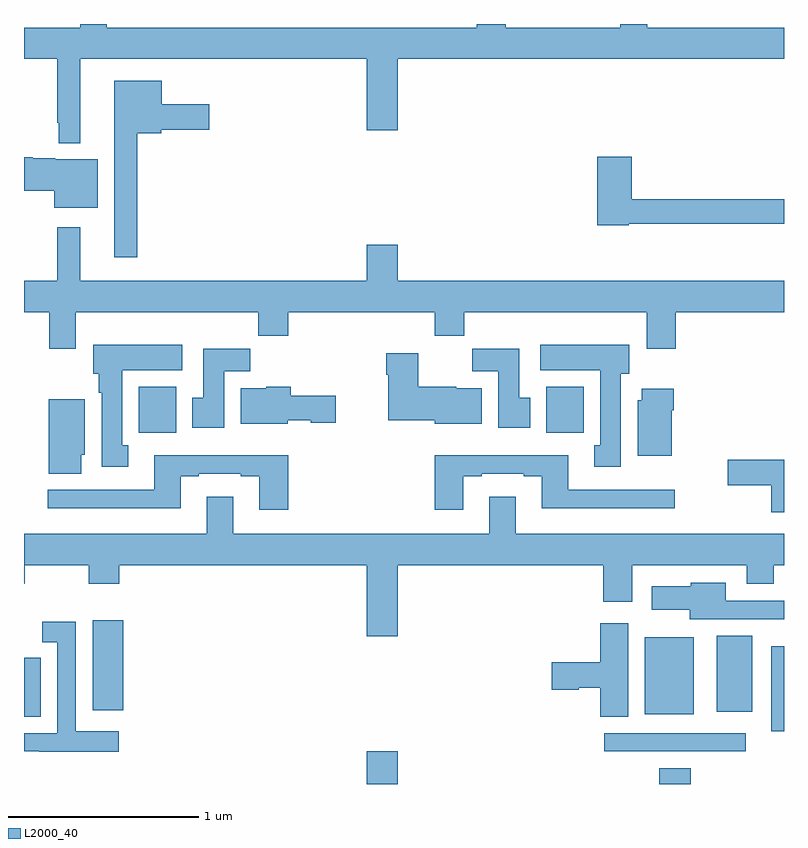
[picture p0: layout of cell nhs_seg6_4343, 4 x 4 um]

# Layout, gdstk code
import gdstk
lib = gdstk.Library(unit=1e-6, precision=1e-09)
def R(c, l, rs):  # rectangles x0, y0, x1, y1
    for r in rs: c.add(gdstk.rectangle(r[:2], r[2:], *l))
def P(c, l, *ps):  # polygons
    for p in ps: c.add(gdstk.Polygon(p, *l))
L2000_40 = (2000, 40)

nhs_seg6_4343 = lib.new_cell('nhs_seg6_4343')
R(nhs_seg6_4343, L2000_40, [(368.804,963.5,368.968,963.673), (370.343,963.5,370.508,963.583), (370.053,963.672,370.798,963.768), (370.934,963.777,371,964.225), (367,963.853,367.087,964.164), (370.268,963.866,370.525,964.273), (370.646,963.881,370.834,964.279), (367.361,963.888,367.522,964.363), (367.604,965.348,367.801,965.59), (369.749,965.348,369.946,965.59)])
P(nhs_seg6_4343, L2000_40, [(367.297,967.316),(368.804,967.316),(368.804,966.942),(368.968,966.942),(368.968,967.316),(371,967.316),(371,967.48),(370.279,967.48),(370.279,967.5),(370.139,967.5),(370.139,967.48),(369.535,967.48),(369.535,967.5),(369.383,967.5),(369.383,967.48),(367.435,967.48),(367.435,967.5),(367.296,967.5),(367.296,967.48),(367,967.48),(367,967.316),(367.176,967.316),(367.176,966.979),(367.183,966.979),(367.183,966.872),(367.297,966.872)],
  [(367.597,966.926),(367.722,966.926),(367.722,966.944),(367.975,966.944),(367.975,967.078),(367.726,967.078),(367.726,967.201),(367.475,967.201),(367.475,966.273),(367.597,966.273)],
  [(370.182,966.45),(371,966.45),(371,966.578),(370.199,966.578),(370.199,966.802),(370.016,966.802),(370.016,966.442),(370.182,966.442)],
  [(367.387,966.787),(367.164,966.787),(367.164,966.793),(367.045,966.793),(367.045,966.8),(367,966.8),(367,966.622),(367.16,966.622),(367.16,966.533),(367.387,966.533)],
  [(367.273,965.984),(368.233,965.984),(368.233,965.86),(368.39,965.86),(368.39,965.984),(369.161,965.984),(369.161,965.86),(369.317,965.86),(369.317,965.984),(370.277,965.984),(370.277,965.79),(370.43,965.79),(370.43,965.984),(371,965.984),(371,966.148),(368.968,966.148),(368.968,966.337),(368.804,966.337),(368.804,966.148),(367.297,966.148),(367.297,966.43),(367.176,966.43),(367.176,966.148),(367,966.148),(367,965.984),(367.133,965.984),(367.133,965.79),(367.273,965.79)],
  [(370.141,965.658),(370.186,965.658),(370.186,965.812),(369.717,965.812),(369.717,965.678),(370.034,965.678),(370.034,965.282),(370.001,965.282),(370.001,965.169),(370.141,965.169)],
  [(367.549,965.282),(367.516,965.282),(367.516,965.678),(367.834,965.678),(367.834,965.812),(367.364,965.812),(367.364,965.658),(367.394,965.658),(367.394,965.558),(367.409,965.558),(367.409,965.169),(367.549,965.169)],
  [(368.053,965.672),(368.192,965.672),(368.192,965.791),(367.943,965.791),(367.943,965.532),(367.886,965.532),(367.886,965.376),(368.053,965.376)],
  [(369.664,965.532),(369.607,965.532),(369.607,965.791),(369.358,965.791),(369.358,965.672),(369.497,965.672),(369.497,965.376),(369.664,965.376)],
  [(369.409,965.584),(369.276,965.584),(369.276,965.59),(369.076,965.59),(369.076,965.767),(368.906,965.767),(368.906,965.654),(368.918,965.654),(368.918,965.414),(369.162,965.414),(369.162,965.396),(369.409,965.396)],
  [(368.388,965.414),(368.508,965.414),(368.508,965.402),(368.641,965.402),(368.641,965.544),(368.405,965.544),(368.405,965.59),(368.274,965.59),(368.274,965.584),(368.141,965.584),(368.141,965.396),(368.388,965.396)],
  [(370.408,965.468),(370.421,965.468),(370.421,965.581),(370.25,965.581),(370.25,965.52),(370.229,965.52),(370.229,965.228),(370.408,965.228)],
  [(367.3,965.232),(367.321,965.232),(367.321,965.524),(367.13,965.524),(367.13,965.134),(367.3,965.134)],
  [(368.39,965.23),(367.685,965.23),(367.685,965.049),(367.125,965.049),(367.125,964.952),(367.825,964.952),(367.825,965.121),(367.921,965.121),(367.921,965.133),(368.141,965.133),(368.141,965.121),(368.237,965.121),(368.237,964.944),(368.39,964.944)],
  [(369.313,965.121),(369.409,965.121),(369.409,965.133),(369.629,965.133),(369.629,965.121),(369.725,965.121),(369.725,964.952),(370.426,964.952),(370.426,965.049),(369.865,965.049),(369.865,965.23),(369.161,965.23),(369.161,964.944),(369.313,964.944)],
  [(371,965.207),(370.704,965.207),(370.704,965.072),(370.934,965.072),(370.934,964.931),(371,964.931)],
  [(368.968,964.652),(370.049,964.652),(370.049,964.458),(370.201,964.458),(370.201,964.652),(370.805,964.652),(370.805,964.553),(370.945,964.553),(370.945,964.652),(371,964.652),(371,964.816),(369.589,964.816),(369.589,965.011),(369.449,965.011),(369.449,964.816),(368.101,964.816),(368.101,965.011),(367.961,965.011),(367.961,964.816),(367,964.816),(367,964.553),(367.005,964.553),(367.005,964.652),(367.342,964.652),(367.342,964.553),(367.502,964.553),(367.502,964.652),(368.804,964.652),(368.804,964.278),(368.968,964.278)],
  [(371,964.464),(370.693,964.464),(370.693,964.558),(370.509,964.558),(370.509,964.54),(370.305,964.54),(370.305,964.418),(370.505,964.418),(370.505,964.368),(371,964.368)],
  [(367.498,963.778),(367.272,963.778),(367.272,964.354),(367.095,964.354),(367.095,964.245),(367.176,964.245),(367.176,963.768),(367,963.768),(367,963.672),(367.079,963.672),(367.079,963.671),(367.498,963.671)],
  [(370.18,964.345),(370.034,964.345),(370.034,964.142),(369.777,964.142),(369.777,963.995),(369.92,963.995),(369.92,964.007),(370.034,964.007),(370.034,963.853),(370.18,963.853)])

lib.write_gds('nhs_seg6_4343.gds')
